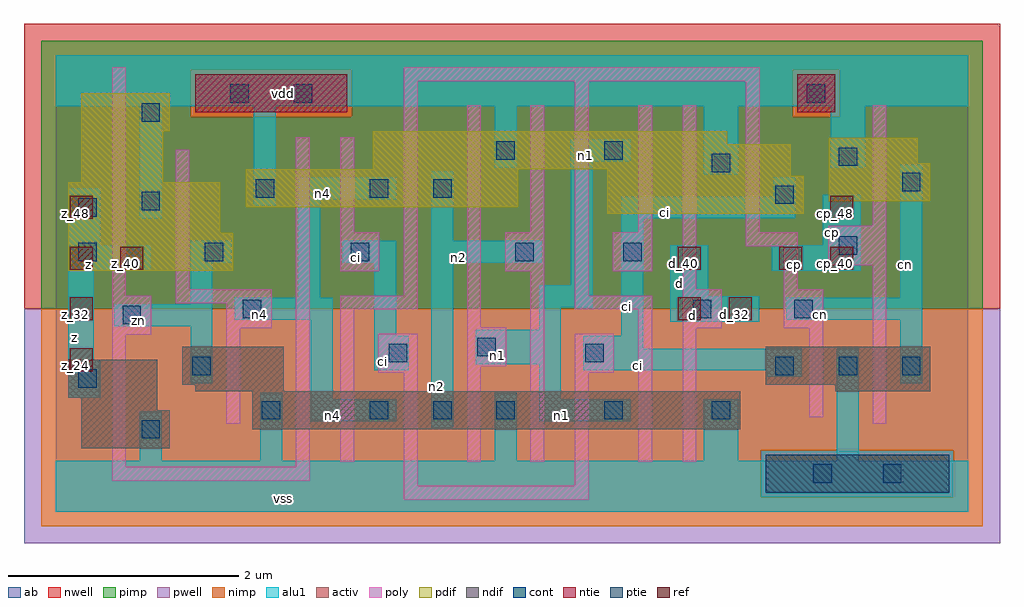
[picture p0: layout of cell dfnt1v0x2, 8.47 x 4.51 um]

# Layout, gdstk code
import gdstk
lib = gdstk.Library(unit=1e-6, precision=2.5e-09)
def R(c, l, rs):  # rectangles x0, y0, x1, y1
    for r in rs: c.add(gdstk.rectangle(r[:2], r[2:], *l))
def A(c, l, x, y, w, h, nx, ny, dx, dy):  # array of equal rectangles
    R(c, l, [(x+i*dx, y+j*dy, x+i*dx+w, y+j*dy+h) for i in range(nx) for j in range(ny)])
ndif = (3, 0)
pdif = (4, 0)
ntie = (5, 0)
ptie = (6, 0)
ref = (24, 0)
cont = (25, 0)
pwell = (41, 0)
nwell = (42, 0)
activ = (43, 0)
pimp = (44, 0)
nimp = (45, 0)
poly = (46, 0)
alu1 = (49, 0)
ab = (63, 0)

dfnt1v0x2 = lib.new_cell('dfnt1v0x2')
R(dfnt1v0x2, ndif, [(0.22,0.55,0.99,0.88), (1.705,0.715,5.94,1.045), (0.22,0.88,0.88,0.99), (0.11,0.99,0.88,1.32), (1.21,1.045,1.98,1.1), (6.765,1.045,7.59,1.1), (1.1,1.1,1.98,1.43), (6.16,1.1,7.59,1.43)])
R(dfnt1v0x2, pdif, [(0.11,2.09,1.54,2.42), (0.11,2.42,1.43,2.86), (4.785,2.585,6.49,2.915), (1.65,2.64,4.015,2.97), (6.71,2.695,7.59,3.025), (0.22,2.86,0.935,3.3), (4.785,2.915,6.38,2.97), (2.75,2.97,6.38,3.19), (6.71,3.025,7.48,3.245), (2.75,3.19,5.83,3.3), (0.22,3.3,0.99,3.63)])
R(dfnt1v0x2, ntie, [(1.21,3.465,2.53,3.795), (6.435,3.465,6.765,3.795)])
R(dfnt1v0x2, ptie, [(6.16,0.165,7.755,0.495)])
A(dfnt1v0x2, ref, 0.12, 1.22, 0.2, 0.2, 1, 4, 0, 0.44)
R(dfnt1v0x2, ref, [(5.4,1.66,5.6,1.86), (5.84,1.66,6.04,1.86), (0.56,2.1,0.76,2.3), (5.4,2.1,5.6,2.3), (6.28,2.1,6.48,2.3), (6.72,2.1,6.92,2.3), (6.72,2.54,6.92,2.74)])
A(dfnt1v0x2, cont, 2.725, 0.8, 0.16, 0.16, 3, 1, 0.55, 0)
A(dfnt1v0x2, cont, 6.245, 1.185, 0.16, 0.16, 3, 1, 0.55, 0)
R(dfnt1v0x2, cont, [(6.575,0.25,6.735,0.41), (7.18,0.25,7.34,0.41), (0.745,0.635,0.905,0.795), (1.79,0.8,1.95,0.96), (4.76,0.8,4.92,0.96), (5.695,0.8,5.855,0.96), (0.195,1.075,0.355,1.235), (1.185,1.185,1.345,1.345), (2.89,1.295,3.05,1.455), (4.595,1.295,4.755,1.455), (3.66,1.35,3.82,1.51), (0.58,1.625,0.74,1.785), (1.625,1.68,1.785,1.84), (5.53,1.68,5.69,1.84), (6.41,1.68,6.57,1.84), (0.195,2.175,0.355,2.335), (1.295,2.175,1.455,2.335), (2.56,2.175,2.72,2.335), (3.99,2.175,4.15,2.335), (4.925,2.175,5.085,2.335), (6.795,2.23,6.955,2.39), (0.195,2.56,0.355,2.72), (0.745,2.615,0.905,2.775), (6.245,2.67,6.405,2.83), (1.735,2.725,1.895,2.885), (2.725,2.725,2.885,2.885), (3.275,2.725,3.435,2.885), (7.345,2.78,7.505,2.94), (5.695,2.945,5.855,3.105), (6.795,3,6.955,3.16), (3.825,3.055,3.985,3.215), (4.76,3.055,4.92,3.215), (0.745,3.385,0.905,3.545), (1.515,3.55,1.675,3.71), (2.065,3.55,2.225,3.71), (6.52,3.55,6.68,3.71)])
R(dfnt1v0x2, pwell, [(-0.275,-0.275,8.195,1.76)])
R(dfnt1v0x2, nwell, [(-0.275,1.76,8.195,4.235)])
R(dfnt1v0x2, activ, [(6.16,0.165,7.755,0.495), (0.22,0.55,0.99,0.88), (1.705,0.715,5.94,1.045), (0.22,0.88,0.88,0.99), (0.11,0.99,0.88,1.32), (1.21,1.045,1.98,1.1), (6.765,1.045,7.59,1.1), (1.1,1.1,1.98,1.43), (6.16,1.1,7.59,1.43), (0.11,2.09,1.54,2.42), (0.11,2.42,1.43,2.86), (4.785,2.585,6.49,2.915), (1.65,2.64,4.015,2.97), (6.71,2.695,7.59,3.025), (0.22,2.86,0.935,3.3), (4.785,2.915,6.38,2.97), (2.75,2.97,6.38,3.19), (6.71,3.025,7.48,3.245), (2.75,3.19,5.83,3.3), (0.22,3.3,0.99,3.63), (1.21,3.465,2.53,3.795), (6.435,3.465,6.765,3.795)])
R(dfnt1v0x2, pimp, [(6.12,0.125,7.795,0.535), (-0.125,1.76,8.045,3.425), (-0.125,3.425,1.17,3.835), (2.57,3.425,6.395,3.835), (6.805,3.425,8.045,3.835), (-0.125,3.835,8.045,4.085)])
R(dfnt1v0x2, nimp, [(-0.125,-0.125,8.045,0.125), (-0.125,0.125,6.12,0.535), (7.795,0.125,8.045,0.535), (-0.125,0.535,8.045,1.76), (1.17,3.425,2.57,3.835), (6.395,3.425,6.805,3.835)])
R(dfnt1v0x2, poly, [(3.02,0.105,4.625,0.225), (3.02,0.225,3.14,1.205), (4.505,0.225,4.625,1.205), (0.49,0.27,2.205,0.39), (0.49,0.39,0.61,1.535), (2.085,0.39,2.205,3.25), (2.47,0.435,2.59,1.755), (3.57,0.435,3.69,1.26), (4.12,0.435,4.24,2.085), (5.055,0.435,5.175,1.755), (5.44,0.435,5.56,1.59), (1.48,0.765,1.6,1.59), (7.09,0.765,7.21,2.14), (6.54,0.82,6.66,1.59), (2.8,1.205,3.14,1.545), (4.505,1.205,4.845,1.545), (3.57,1.26,3.91,1.6), (0.49,1.535,0.83,1.875), (1.48,1.59,1.875,1.81), (5.44,1.59,5.78,1.93), (6.32,1.59,6.66,1.93), (3.57,1.6,3.69,3.525), (2.47,1.755,3.14,1.875), (4.505,1.755,5.175,1.875), (1.04,1.81,1.875,1.93), (0.49,1.875,0.61,3.855), (3.02,1.875,3.14,3.735), (4.505,1.875,4.625,3.735), (1.04,1.93,1.16,3.14), (5.44,1.93,5.56,3.525), (6.32,1.93,6.44,2.305), (2.47,2.085,2.81,2.425), (3.9,2.085,4.24,2.425), (4.835,2.085,5.175,2.425), (6.705,2.14,7.21,2.48), (5.99,2.305,6.44,2.425), (2.47,2.425,2.59,3.25), (4.12,2.425,4.24,3.525), (5.055,2.425,5.175,3.525), (5.99,2.425,6.11,3.735), (7.09,2.48,7.21,3.525), (3.02,3.735,6.11,3.855)])
R(dfnt1v0x2, alu1, [(0,0,7.92,0.44), (0.73,0.44,0.92,0.865), (1.775,0.44,1.965,1.03), (3.81,0.44,4,1.03), (5.625,0.44,5.925,0.975), (6.78,0.44,6.97,1.415), (3.26,0.73,3.45,2.16), (2.215,0.785,2.955,0.975), (4.195,0.785,4.99,0.975), (2.215,0.975,2.405,1.665), (4.195,0.975,4.385,1.28), (0.11,0.99,0.385,1.32), (1.17,1.115,1.36,1.61), (7.33,1.115,7.52,1.665), (6.175,1.17,6.475,1.225), (2.765,1.225,3.065,1.525), (4.58,1.225,6.475,1.415), (3.645,1.28,4.385,1.58), (0.11,1.32,0.33,2.09), (4.58,1.415,5.1,1.525), (2.765,1.525,2.955,2.16), (4.91,1.525,5.1,2.545), (4.195,1.58,4.385,1.775), (0.51,1.61,1.36,1.8), (5.335,1.65,6.105,1.87), (1.555,1.665,2.405,1.855), (6.34,1.665,7.52,1.855), (4.195,1.775,4.66,1.965), (1.17,1.8,1.36,2.16), (2.105,1.855,2.295,2.71), (7.33,1.855,7.52,3.01), (5.335,1.87,5.665,2.31), (4.47,1.965,4.66,3.04), (0.11,2.09,0.825,2.31), (6.215,2.09,6.985,2.31), (1.17,2.16,1.525,2.35), (2.49,2.16,2.955,2.35), (3.26,2.16,4.22,2.35), (0.11,2.31,0.385,2.805), (6.655,2.31,6.985,2.75), (3.26,2.35,3.45,2.955), (0.73,2.545,0.92,3.52), (4.91,2.545,6.42,2.735), (1.72,2.655,1.91,3.52), (2.105,2.71,2.955,2.9), (6.23,2.735,6.42,2.9), (5.625,2.93,5.925,3.52), (3.81,2.985,4,3.52), (6.725,2.985,7.025,3.52), (4.47,3.04,4.99,3.23), (0,3.52,7.92,3.96)])
R(dfnt1v0x2, ab, [(0,0,7.92,3.96)])
dfnt1v0x2.add(gdstk.Label('vss', (1.98,0.11), layer=49, texttype=0))
dfnt1v0x2.add(gdstk.Label('n1', (4.3925,0.8325), layer=49, texttype=0))
dfnt1v0x2.add(gdstk.Label('ci', (5.0525,1.2725), layer=49, texttype=0))
dfnt1v0x2.add(gdstk.Label('cn', (6.635,1.7125), layer=49, texttype=0))
dfnt1v0x2.add(gdstk.Label('cn', (7.3775,2.1425), layer=49, texttype=0))
dfnt1v0x2.add(gdstk.Label('d', (5.5275,1.705), layer=49, texttype=0))
dfnt1v0x2.add(gdstk.Label('cp', (6.4075,2.145), layer=49, texttype=0))
dfnt1v0x2.add(gdstk.Label('d', (5.4175,1.98), layer=49, texttype=0))
dfnt1v0x2.add(gdstk.Label('cp', (6.7375,2.42), layer=49, texttype=0))
dfnt1v0x2.add(gdstk.Label('ci', (4.9575,1.78), layer=49, texttype=0))
dfnt1v0x2.add(gdstk.Label('n1', (3.83,1.355), layer=49, texttype=0))
dfnt1v0x2.add(gdstk.Label('ci', (5.2875,2.5925), layer=49, texttype=0))
dfnt1v0x2.add(gdstk.Label('n2', (3.3075,1.0875), layer=49, texttype=0))
dfnt1v0x2.add(gdstk.Label('n4', (2.4,0.8325), layer=49, texttype=0))
dfnt1v0x2.add(gdstk.Label('ci', (2.84,1.3), layer=49, texttype=0))
dfnt1v0x2.add(gdstk.Label('n2', (3.5,2.2075), layer=49, texttype=0))
dfnt1v0x2.add(gdstk.Label('n4', (1.7675,1.7125), layer=49, texttype=0))
dfnt1v0x2.add(gdstk.Label('zn', (0.7225,1.6575), layer=49, texttype=0))
dfnt1v0x2.add(gdstk.Label('ci', (2.605,2.2075), layer=49, texttype=0))
dfnt1v0x2.add(gdstk.Label('z', (0.165,1.5125), layer=49, texttype=0))
dfnt1v0x2.add(gdstk.Label('z', (0.2875,2.145), layer=49, texttype=0))
dfnt1v0x2.add(gdstk.Label('n4', (2.3175,2.7575), layer=49, texttype=0))
dfnt1v0x2.add(gdstk.Label('n1', (4.6,3.0875), layer=49, texttype=0))
dfnt1v0x2.add(gdstk.Label('vdd', (1.98,3.63), layer=49, texttype=0))
dfnt1v0x2.add(gdstk.Label('z_40', (0.17,2.15), layer=24, texttype=0))
dfnt1v0x2.add(gdstk.Label('z_32', (0.17,1.71), layer=24, texttype=0))
dfnt1v0x2.add(gdstk.Label('z_24', (0.17,1.27), layer=24, texttype=0))
dfnt1v0x2.add(gdstk.Label('cp_48', (6.77,2.59), layer=24, texttype=0))
dfnt1v0x2.add(gdstk.Label('cp_40', (6.77,2.15), layer=24, texttype=0))
dfnt1v0x2.add(gdstk.Label('cp_40', (6.33,2.15), layer=24, texttype=0))
dfnt1v0x2.add(gdstk.Label('d_32', (5.89,1.71), layer=24, texttype=0))
dfnt1v0x2.add(gdstk.Label('d_40', (5.45,2.15), layer=24, texttype=0))
dfnt1v0x2.add(gdstk.Label('d_32', (5.45,1.71), layer=24, texttype=0))
dfnt1v0x2.add(gdstk.Label('z_48', (0.17,2.59), layer=24, texttype=0))
dfnt1v0x2.add(gdstk.Label('z_40', (0.61,2.15), layer=24, texttype=0))

lib.write_gds('dfnt1v0x2.gds')
